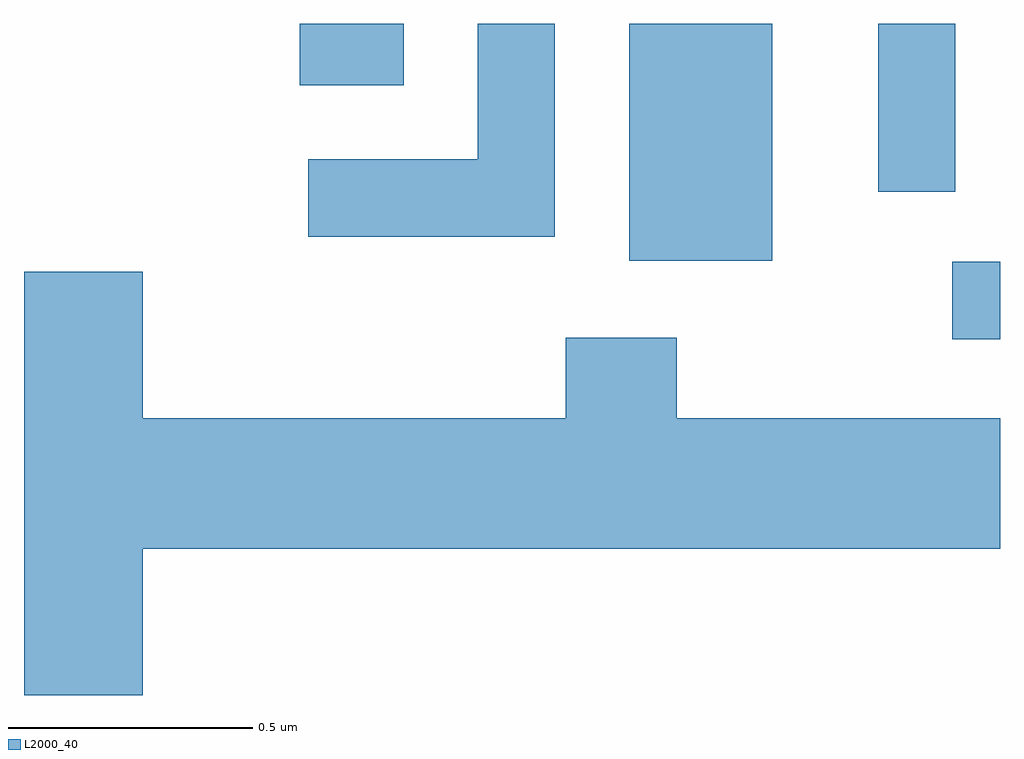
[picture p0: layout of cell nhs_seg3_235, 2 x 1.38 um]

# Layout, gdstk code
import gdstk
lib = gdstk.Library(unit=1e-6, precision=1e-09)
def R(c, l, rs):  # rectangles x0, y0, x1, y1
    for r in rs: c.add(gdstk.rectangle(r[:2], r[2:], *l))
def P(c, l, *ps):  # polygons
    for p in ps: c.add(gdstk.Polygon(p, *l))
L2000_40 = (2000, 40)

nhs_seg3_235 = lib.new_cell('nhs_seg3_235')
R(nhs_seg3_235, L2000_40, [(188.513,1215.246,188.611,1215.404), (187.851,1215.406,188.144,1215.892), (188.361,1215.548,188.519,1215.892), (187.176,1215.766,187.389,1215.892)])
P(nhs_seg3_235, L2000_40, [(187.699,1215.892),(187.541,1215.892),(187.541,1215.614),(187.193,1215.614),(187.193,1215.456),(187.699,1215.456)],
  [(186.854,1214.816),(188.611,1214.816),(188.611,1215.084),(187.949,1215.084),(187.949,1215.249),(187.721,1215.249),(187.721,1215.084),(186.854,1215.084),(186.854,1215.384),(186.611,1215.384),(186.611,1214.516),(186.854,1214.516)])

lib.write_gds('nhs_seg3_235.gds')
